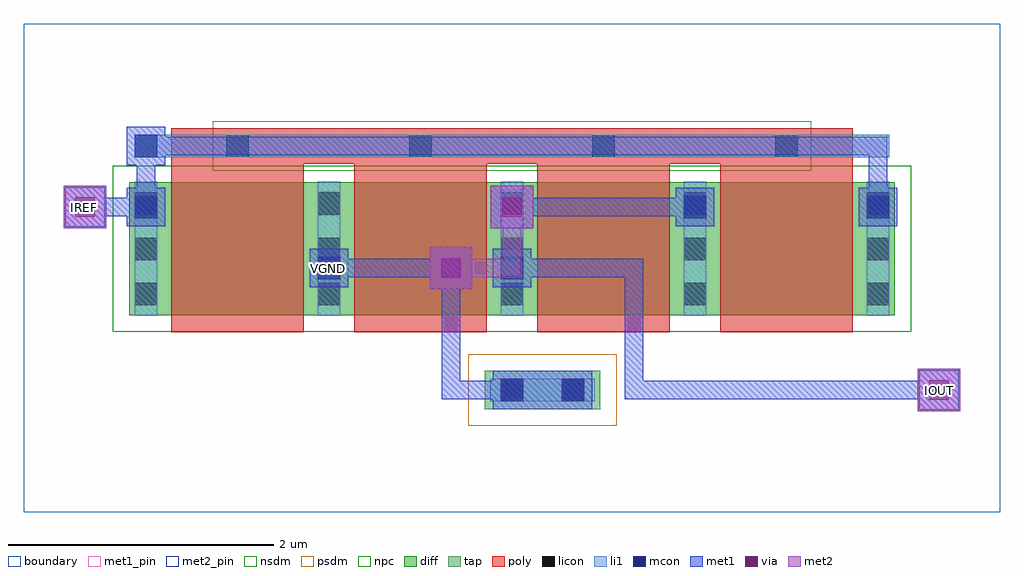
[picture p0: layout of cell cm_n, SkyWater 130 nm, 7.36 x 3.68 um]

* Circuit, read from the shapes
.subckt cm_n IOUT IREF VGND
XM1 VGND IREF IREF VGND sky130_fd_pr__nfet_01v8 w=1 l=1 m=2
XM2 IOUT IREF VGND VGND sky130_fd_pr__nfet_01v8 w=1 l=1 m=2
.ends

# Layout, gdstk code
import gdstk
lib = gdstk.Library(unit=1e-6, precision=1e-09)
def R(c, l, rs):  # rectangles x0, y0, x1, y1
    for r in rs: c.add(gdstk.rectangle(r[:2], r[2:], *l))
def A(c, l, x, y, w, h, nx, ny, dx, dy):  # array of equal rectangles
    R(c, l, [(x+i*dx, y+j*dy, x+i*dx+w, y+j*dy+h) for i in range(nx) for j in range(ny)])
diff = (65, 20)
tap = (65, 44)
poly = (66, 20)
licon = (66, 44)
li1 = (67, 20)
mcon = (67, 44)
met1_pin = (68, 16)
met1 = (68, 20)
via = (68, 44)
met2_pin = (69, 16)
met2 = (69, 20)
nsdm = (93, 44)
psdm = (94, 20)
npc = (95, 20)
boundary = (235, 4)

cm_n = lib.new_cell('cm_n')
R(cm_n, diff, [(0.795,1.485,6.565,2.485)])
R(cm_n, tap, [(3.475,0.775,4.345,1.065)])
A(cm_n, poly, 1.11, 1.355, 1, 1.405, 4, 1, 1.38, 0)
R(cm_n, poly, [(1.11,2.625,6.25,2.895)])
A(cm_n, licon, 0.835, 1.56, 0.17, 0.17, 5, 3, 1.38, 0.34)
A(cm_n, licon, 1.525, 2.675, 0.17, 0.17, 4, 1, 1.38, 0)
R(cm_n, licon, [(3.595,0.835,3.765,1.005), (4.055,0.835,4.225,1.005)])
A(cm_n, li1, 0.835, 1.48, 0.17, 1.01, 5, 1, 1.38, 0)
R(cm_n, li1, [(3.515,0.835,4.305,1.005), (0.835,2.675,6.525,2.845)])
R(cm_n, mcon, [(3.595,0.835,3.765,1.005), (4.055,0.835,4.225,1.005), (2.215,1.755,2.385,1.925), (3.595,1.755,3.765,1.925), (0.835,2.215,1.005,2.385), (4.975,2.215,5.145,2.385), (6.355,2.215,6.525,2.385), (0.835,2.675,1.005,2.845)])
R(cm_n, met1_pin, [(2.155,1.695,2.445,1.985)])
R(cm_n, met1, [(6.74,0.76,7.06,1.08), (3.535,0.775,4.285,1.065), (3.15,0.85,3.75,0.99), (3.15,0.85,3.29,1.91), (3.61,0.85,3.75,0.99), (4.53,0.85,4.67,1.91), (4.53,0.85,6.97,0.99), (3.06,1.68,3.38,2), (2.155,1.695,2.445,1.985), (3.535,1.695,3.825,1.985), (2.23,1.77,3.29,1.91), (3.61,1.77,4.67,1.91), (0.3,2.14,0.62,2.46), (3.52,2.14,3.84,2.46), (0.775,2.155,1.065,2.445), (4.915,2.155,5.205,2.445), (6.295,2.155,6.585,2.445), (0.39,2.23,0.99,2.37), (0.85,2.23,0.99,2.83), (3.61,2.23,5.13,2.37), (6.37,2.23,6.51,2.83), (0.775,2.615,1.065,2.905), (0.85,2.69,6.51,2.83)])
R(cm_n, via, [(6.825,0.845,6.975,0.995), (3.145,1.765,3.295,1.915), (0.385,2.225,0.535,2.375), (3.605,2.225,3.755,2.375)])
R(cm_n, met2_pin, [(6.75,0.77,7.05,1.07), (0.31,2.15,0.61,2.45)])
R(cm_n, met2, [(6.74,0.76,7.06,1.08), (6.75,0.77,7.05,1.07), (6.83,0.85,6.97,0.99), (3.06,1.68,3.38,2), (3.15,1.77,3.75,1.91), (3.61,1.77,3.75,2.37), (0.3,2.14,0.62,2.46), (3.52,2.14,3.84,2.46), (0.31,2.15,0.61,2.45), (0.39,2.23,0.53,2.37)])
R(cm_n, nsdm, [(0.67,1.36,6.69,2.61)])
R(cm_n, psdm, [(3.35,0.65,4.47,1.19)])
R(cm_n, npc, [(1.425,2.575,5.935,2.945)])
R(cm_n, boundary, [(0,0,7.36,3.68)])
cm_n.add(gdstk.Label('VGND', (2.3,1.84), layer=68, texttype=5))
cm_n.add(gdstk.Label('IREF', (0.46,2.3), layer=69, texttype=5))
cm_n.add(gdstk.Label('IOUT', (6.9,0.92), layer=69, texttype=5))
cm_n.add(gdstk.Label('VGND', (2.3,1.84), layer=68, texttype=16))
cm_n.add(gdstk.Label('IREF', (0.46,2.3), layer=69, texttype=16))
cm_n.add(gdstk.Label('IOUT', (6.9,0.92), layer=69, texttype=16))

lib.write_gds('cm_n.gds')
